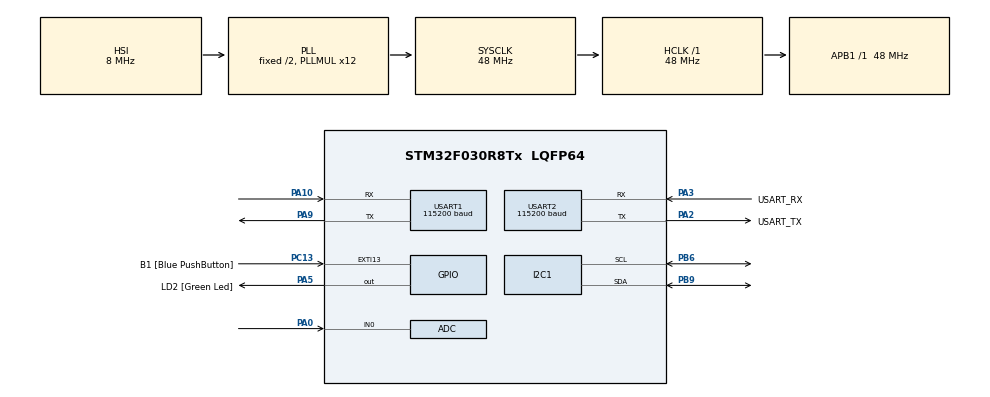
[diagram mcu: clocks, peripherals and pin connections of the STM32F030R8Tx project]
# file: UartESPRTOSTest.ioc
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FREERTOS.Tasks01=defaultTask,-1,256,StartDefaultTask,Default,NULL,Dynamic,NULL,NULL;Read_T_H_A_L_Se,0,128,ReadSensors,Default,NULL,Dynamic,NULL,NULL;ConnectToESP,1,256,ConnectToServer,Default,NULL,Dynamic,NULL,NULL
Mcu.Family=STM32F0
Mcu.Name=STM32F030R8Tx
Mcu.Package=LQFP64
NVIC.RTC_IRQn=true\:0\:0\:false\:false\:true\:false\:true\:true
NVIC.TIM1_BRK_UP_TRG_COM_IRQn=true\:0\:0\:false\:false\:true\:false\:false\:true
NVIC.TimeBase=TIM1_BRK_UP_TRG_COM_IRQn
NVIC.TimeBaseIP=TIM1
NVIC.USART1_IRQn=true\:0\:0\:false\:false\:true\:false\:true\:true
PA0.Mode=IN0
PA0.Signal=ADC_IN0
PA10.Mode=Asynchronous
PA10.Signal=USART1_RX
PA13.GPIO_Label=TMS
PA13.Mode=Serial_Wire
PA13.Signal=SYS_SWDIO
PA14.GPIO_Label=TCK
PA14.Mode=Serial_Wire
PA14.Signal=SYS_SWCLK
PA2.GPIO_Label=USART_TX
PA2.GPIO_Mode=GPIO_MODE_AF_PP
PA2.GPIO_PuPd=GPIO_NOPULL
PA2.GPIO_Speed=GPIO_SPEED_FREQ_LOW
PA2.Mode=Asynchronous
PA2.Signal=USART2_TX
PA3.GPIO_Label=USART_RX
PA3.GPIO_Mode=GPIO_MODE_AF_PP
PA3.GPIO_PuPd=GPIO_NOPULL
PA3.GPIO_Speed=GPIO_SPEED_FREQ_LOW
PA3.Mode=Asynchronous
PA3.Signal=USART2_RX
PA5.GPIO_Label=LD2 [Green Led]
PA5.GPIO_Mode=GPIO_MODE_OUTPUT_PP
PA5.GPIO_PuPd=GPIO_NOPULL
PA5.GPIO_Speed=GPIO_SPEED_FREQ_LOW
PA5.Signal=GPIO_Output
PA9.Mode=Asynchronous
PA9.Signal=USART1_TX
PB6.Mode=I2C
PB6.Signal=I2C1_SCL
PB9.Mode=I2C
PB9.Signal=I2C1_SDA
PC13.GPIO_Label=B1 [Blue PushButton]
PC13.GPIO_ModeDefaultEXTI=GPIO_MODE_IT_FALLING
PC13.Signal=GPXTI13
PC14-OSC32_IN.Mode=LSE-External-Oscillator
PC14-OSC32_IN.Signal=RCC_OSC32_IN
PC15-OSC32_OUT.Mode=LSE-External-Oscillator
PC15-OSC32_OUT.Signal=RCC_OSC32_OUT
PF0-OSC_IN.Mode=HSE-External-Clock-Source
PF0-OSC_IN.Signal=RCC_OSC_IN
PF1-OSC_OUT.Signal=RCC_OSC_OUT
ProjectManager.HeapSize=0x200
ProjectManager.StackSize=0x400
ProjectManager.TargetToolchain=STM32CubeIDE
RCC.AHBFreq_Value=48000000
RCC.APB1Freq_Value=48000000
RCC.APB1TimFreq_Value=48000000
RCC.HCLKFreq_Value=48000000
RCC.PLLMUL=RCC_PLL_MUL12
RCC.SYSCLKFreq_VALUE=48000000
RCC.SYSCLKSource=RCC_SYSCLKSOURCE_PLLCLK
RTC.Alarm-Alarm\ A=RTC_ALARM_A
RTC.Minutes=0
RTC.Minutes_A-Alarm\ A=1
USART1.BaudRate=115200
USART1.VirtualMode-Asynchronous=VM_ASYNC
USART2.BaudRate=115200
USART2.VirtualMode-Asynchronous=VM_ASYNC
VP_FREERTOS_VS_CMSIS_V1.Mode=CMSIS_V1
VP_RTC_VS_RTC_Activate.Mode=RTC_Enabled
VP_RTC_VS_RTC_Alarm_A_Intern.Mode=Alarm A
VP_RTC_VS_RTC_Calendar.Mode=RTC_Calendar
VP_SYS_VS_tim1.Mode=TIM1
board=NUCLEO-F030R8

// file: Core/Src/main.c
/* USER CODE BEGIN Header */
/**
 ******************************************************************************
 * @file           : main.c
 * @brief          : Main program body
 ******************************************************************************
 * @attention
 *
 * <h2><center>&copy; Copyright (c) 2020 STMicroelectronics.
 * All rights reserved.</center></h2>
 *
 * This software component is licensed by ST under BSD 3-Clause license,
 * the "License"; You may not use this file except in compliance with the
 * License. You may obtain a copy of the License at:
 *                        opensource.org/licenses/BSD-3-Clause
 *
 ******************************************************************************
 */
/* USER CODE END Header */
#include "main.h"
#include "cmsis_os.h"

/* USER CODE BEGIN Includes */
#include "ESP-Wireless-v1.h"
#include "I2c.h"
#include "T_H_A_L_Sensor.h"
#include "standBy.h"
/* USER CODE END Includes */

ADC_HandleTypeDef hadc;

I2C_HandleTypeDef hi2c1;

RTC_HandleTypeDef hrtc;

UART_HandleTypeDef huart1;
UART_HandleTypeDef huart2;

osThreadId defaultTaskHandle;
osThreadId Read_T_H_A_L_SeHandle;
osThreadId ConnectToESPHandle;

void SystemClock_Config(void);
static void MX_GPIO_Init(void);
static void MX_USART2_UART_Init(void);
static void MX_ADC_Init(void);
static void MX_I2C1_Init(void);
static void MX_USART1_UART_Init(void);
static void MX_RTC_Init(void);
void StartDefaultTask(void const *argument);
void ReadSensors(void const *argument);
void ConnectToServer(void const *argument);

/* USER CODE BEGIN PFP */
//typedef struct { double T,H,A,L; int minutes_expired;} SensorData;
int missed_cycles = 0;
SensorData sensorData[11];
uint8_t Connection_Server_status = 0;
uint8_t Sensor_Read_status = 0;
/* USER CODE END PFP */

int main(void) {

	/* MCU Configuration--------------------------------------------------------*/

	/* Reset of all peripherals, Initializes the Flash interface and the Systick. */
	HAL_Init();

	/* Configure the system clock */
	SystemClock_Config();

	/* Initialize all configured peripherals */
	MX_GPIO_Init();
	MX_USART2_UART_Init();
	MX_ADC_Init();
	MX_I2C1_Init();
	MX_USART1_UART_Init();
	MX_RTC_Init();

	/* Create the thread(s) */
	/* definition and creation of defaultTask */
	osThreadDef(defaultTask, StartDefaultTask, osPriorityBelowNormal, 0, 256);
	defaultTaskHandle = osThreadCreate(osThread(defaultTask), NULL);

	/* definition and creation of Read_T_H_A_L_Se */
	osThreadDef(Read_T_H_A_L_Se, ReadSensors, osPriorityNormal, 0, 128);
	Read_T_H_A_L_SeHandle = osThreadCreate(osThread(Read_T_H_A_L_Se), NULL);

	/* definition and creation of ConnectToESP */
	osThreadDef(ConnectToESP, ConnectToServer, osPriorityAboveNormal, 0, 256);
	ConnectToESPHandle = osThreadCreate(osThread(ConnectToESP), NULL);

	/* Start scheduler */
	osKernelStart();

	/* We should never get here as control is now taken by the scheduler */
	/* Infinite loop */
	while (1) {

	}
}

void SystemClock_Config(void) {
	RCC_OscInitTypeDef RCC_OscInitStruct = { 0 };
	RCC_ClkInitTypeDef RCC_ClkInitStruct = { 0 };
	RCC_PeriphCLKInitTypeDef PeriphClkInit = { 0 };

	/** Initializes the RCC Oscillators according to the specified parameters
	 * in the RCC_OscInitTypeDef structure.
	 */
	RCC_OscInitStruct.OscillatorType = RCC_OSCILLATORTYPE_HSI
			| RCC_OSCILLATORTYPE_HSI14 | RCC_OSCILLATORTYPE_LSI;
	RCC_OscInitStruct.HSIState = RCC_HSI_ON;
	RCC_OscInitStruct.HSI14State = RCC_HSI14_ON;
	RCC_OscInitStruct.HSICalibrationValue = RCC_HSICALIBRATION_DEFAULT;
	RCC_OscInitStruct.HSI14CalibrationValue = 16;
	RCC_OscInitStruct.LSIState = RCC_LSI_ON;
	RCC_OscInitStruct.PLL.PLLState = RCC_PLL_ON;
	RCC_OscInitStruct.PLL.PLLSource = RCC_PLLSOURCE_HSI;
	RCC_OscInitStruct.PLL.PLLMUL = RCC_PLL_MUL12;
	RCC_OscInitStruct.PLL.PREDIV = RCC_PREDIV_DIV1;
	if (HAL_RCC_OscConfig(&RCC_OscInitStruct) != HAL_OK) {
		Error_Handler();
	}
	/** Initializes the CPU, AHB and APB buses clocks
	 */
	RCC_ClkInitStruct.ClockType = RCC_CLOCKTYPE_HCLK | RCC_CLOCKTYPE_SYSCLK
			| RCC_CLOCKTYPE_PCLK1;
	RCC_ClkInitStruct.SYSCLKSource = RCC_SYSCLKSOURCE_PLLCLK;
	RCC_ClkInitStruct.AHBCLKDivider = RCC_SYSCLK_DIV1;
	RCC_ClkInitStruct.APB1CLKDivider = RCC_HCLK_DIV1;

	if (HAL_RCC_ClockConfig(&RCC_ClkInitStruct, FLASH_LATENCY_1) != HAL_OK) {
		Error_Handler();
	}
	PeriphClkInit.PeriphClockSelection = RCC_PERIPHCLK_USART1
			| RCC_PERIPHCLK_I2C1 | RCC_PERIPHCLK_RTC;
	PeriphClkInit.Usart1ClockSelection = RCC_USART1CLKSOURCE_PCLK1;
	PeriphClkInit.I2c1ClockSelection = RCC_I2C1CLKSOURCE_HSI;
	PeriphClkInit.RTCClockSelection = RCC_RTCCLKSOURCE_LSI;
	if (HAL_RCCEx_PeriphCLKConfig(&PeriphClkInit) != HAL_OK) {
		Error_Handler();
	}
}

static void MX_ADC_Init(void) {

	ADC_ChannelConfTypeDef sConfig = { 0 };

	/** Configure the global features of the ADC (Clock, Resolution, Data Alignment and number of conversion)
	 */
	hadc.Instance = ADC1;
	hadc.Init.ClockPrescaler = ADC_CLOCK_ASYNC_DIV1;
	hadc.Init.Resolution = ADC_RESOLUTION_12B;
	hadc.Init.DataAlign = ADC_DATAALIGN_RIGHT;
	hadc.Init.ScanConvMode = ADC_SCAN_DIRECTION_FORWARD;
	hadc.Init.EOCSelection = ADC_EOC_SINGLE_CONV;
	hadc.Init.LowPowerAutoWait = DISABLE;
	hadc.Init.LowPowerAutoPowerOff = DISABLE;
	hadc.Init.ContinuousConvMode = DISABLE;
	hadc.Init.DiscontinuousConvMode = DISABLE;
	hadc.Init.ExternalTrigConv = ADC_SOFTWARE_START;
	hadc.Init.ExternalTrigConvEdge = ADC_EXTERNALTRIGCONVEDGE_NONE;
	hadc.Init.DMAContinuousRequests = DISABLE;
	hadc.Init.Overrun = ADC_OVR_DATA_PRESERVED;
	if (HAL_ADC_Init(&hadc) != HAL_OK) {
		Error_Handler();
	}
	/** Configure for the selected ADC regular channel to be converted.
	 */
	sConfig.Channel = ADC_CHANNEL_0;
	sConfig.Rank = ADC_RANK_CHANNEL_NUMBER;
	sConfig.SamplingTime = ADC_SAMPLETIME_1CYCLE_5;
	if (HAL_ADC_ConfigChannel(&hadc, &sConfig) != HAL_OK) {
		Error_Handler();
	}

}

static void MX_I2C1_Init(void) {

	hi2c1.Instance = I2C1;
	hi2c1.Init.Timing = 0x2000090E;
	hi2c1.Init.OwnAddress1 = 0;
	hi2c1.Init.AddressingMode = I2C_ADDRESSINGMODE_7BIT;
	hi2c1.Init.DualAddressMode = I2C_DUALADDRESS_DISABLE;
	hi2c1.Init.OwnAddress2 = 0;
	hi2c1.Init.OwnAddress2Masks = I2C_OA2_NOMASK;
	hi2c1.Init.GeneralCallMode = I2C_GENERALCALL_DISABLE;
	hi2c1.Init.NoStretchMode = I2C_NOSTRETCH_DISABLE;
	if (HAL_I2C_Init(&hi2c1) != HAL_OK) {
		Error_Handler();
	}
	/** Configure Analogue filter
	 */
	if (HAL_I2CEx_ConfigAnalogFilter(&hi2c1, I2C_ANALOGFILTER_ENABLE)
			!= HAL_OK) {
		Error_Handler();
	}
	/** Configure Digital filter
	 */
	if (HAL_I2CEx_ConfigDigitalFilter(&hi2c1, 0) != HAL_OK) {
		Error_Handler();
	}

}

static void MX_RTC_Init(void) {

	RTC_TimeTypeDef sTime = { 0 };
	RTC_DateTypeDef sDate = { 0 };
	RTC_AlarmTypeDef sAlarm = { 0 };

	/** Initialize RTC Only
	 */
	hrtc.Instance = RTC;
	hrtc.Init.HourFormat = RTC_HOURFORMAT_24;
	hrtc.Init.AsynchPrediv = 127;
	hrtc.Init.SynchPrediv = 255;
	hrtc.Init.OutPut = RTC_OUTPUT_DISABLE;
	hrtc.Init.OutPutPolarity = RTC_OUTPUT_POLARITY_HIGH;
	hrtc.Init.OutPutType = RTC_OUTPUT_TYPE_OPENDRAIN;
	if (HAL_RTC_Init(&hrtc) != HAL_OK) {
		Error_Handler();
	}

	/** Initialize RTC and set the Time and Date
	 */
	sTime.Hours = 0x0;
	sTime.Minutes = 0x0;
	sTime.Seconds = 0x0;
	sTime.DayLightSaving = RTC_DAYLIGHTSAVING_NONE;
	sTime.StoreOperation = RTC_STOREOPERATION_RESET;
	if (HAL_RTC_SetTime(&hrtc, &sTime, RTC_FORMAT_BCD) != HAL_OK) {
		Error_Handler();
	}
	sDate.WeekDay = RTC_WEEKDAY_MONDAY;
	sDate.Month = RTC_MONTH_JANUARY;
	sDate.Date = 0x1;
	sDate.Year = 0x0;

	if (HAL_RTC_SetDate(&hrtc, &sDate, RTC_FORMAT_BCD) != HAL_OK) {
		Error_Handler();
	}
	/** Enable the Alarm A
	 */
	sAlarm.AlarmTime.Hours = 0x0;
	sAlarm.AlarmTime.Minutes = 0x1;
	sAlarm.AlarmTime.Seconds = 0x0;
	sAlarm.AlarmTime.SubSeconds = 0x0;
	sAlarm.AlarmTime.DayLightSaving = RTC_DAYLIGHTSAVING_NONE;
	sAlarm.AlarmTime.StoreOperation = RTC_STOREOPERATION_RESET;
	sAlarm.AlarmMask = RTC_ALARMMASK_NONE;
	sAlarm.AlarmSubSecondMask = RTC_ALARMSUBSECONDMASK_ALL;
	sAlarm.AlarmDateWeekDaySel = RTC_ALARMDATEWEEKDAYSEL_DATE;
	sAlarm.AlarmDateWeekDay = 0x1;
	sAlarm.Alarm = RTC_ALARM_A;
	if (HAL_RTC_SetAlarm_IT(&hrtc, &sAlarm, RTC_FORMAT_BCD) != HAL_OK) {
		Error_Handler();
	}

}

static void MX_USART1_UART_Init(void) {

	huart1.Instance = USART1;
	huart1.Init.BaudRate = 115200;
	huart1.Init.WordLength = UART_WORDLENGTH_8B;
	huart1.Init.StopBits = UART_STOPBITS_1;
	huart1.Init.Parity = UART_PARITY_NONE;
	huart1.Init.Mode = UART_MODE_TX_RX;
	huart1.Init.HwFlowCtl = UART_HWCONTROL_NONE;
	huart1.Init.OverSampling = UART_OVERSAMPLING_16;
	huart1.Init.OneBitSampling = UART_ONE_BIT_SAMPLE_DISABLE;
	huart1.AdvancedInit.AdvFeatureInit = UART_ADVFEATURE_NO_INIT;
	if (HAL_UART_Init(&huart1) != HAL_OK) {
		Error_Handler();
	}

}

static void MX_USART2_UART_Init(void) {

	huart2.Instance = USART2;
	huart2.Init.BaudRate = 115200;
	huart2.Init.WordLength = UART_WORDLENGTH_8B;
	huart2.Init.StopBits = UART_STOPBITS_1;
	huart2.Init.Parity = UART_PARITY_NONE;
	huart2.Init.Mode = UART_MODE_TX_RX;
	huart2.Init.HwFlowCtl = UART_HWCONTROL_NONE;
	huart2.Init.OverSampling = UART_OVERSAMPLING_16;
	huart2.Init.OneBitSampling = UART_ONE_BIT_SAMPLE_DISABLE;
	huart2.AdvancedInit.AdvFeatureInit = UART_ADVFEATURE_NO_INIT;
	if (HAL_UART_Init(&huart2) != HAL_OK) {
		Error_Handler();
	}

}

static void MX_GPIO_Init(void) {
	GPIO_InitTypeDef GPIO_InitStruct = { 0 };

	/* GPIO Ports Clock Enable */
	__HAL_RCC_GPIOC_CLK_ENABLE();
	__HAL_RCC_GPIOF_CLK_ENABLE();
	__HAL_RCC_GPIOA_CLK_ENABLE();
	__HAL_RCC_GPIOB_CLK_ENABLE();

	/*Configure GPIO pin Output Level */
	HAL_GPIO_WritePin(LD2_GPIO_Port, LD2_Pin, GPIO_PIN_RESET);

	/*Configure GPIO pin : B1_Pin */
	GPIO_InitStruct.Pin = B1_Pin;
	GPIO_InitStruct.Mode = GPIO_MODE_IT_FALLING;
	GPIO_InitStruct.Pull = GPIO_NOPULL;
	HAL_GPIO_Init(B1_GPIO_Port, &GPIO_InitStruct);

	/*Configure GPIO pin : LD2_Pin */
	GPIO_InitStruct.Pin = LD2_Pin;
	GPIO_InitStruct.Mode = GPIO_MODE_OUTPUT_PP;
	GPIO_InitStruct.Pull = GPIO_NOPULL;
	GPIO_InitStruct.Speed = GPIO_SPEED_FREQ_LOW;
	HAL_GPIO_Init(LD2_GPIO_Port, &GPIO_InitStruct);

}

void StartDefaultTask(void const *argument) {
	/* USER CODE BEGIN 5 */
	/* Infinite loop */
	resetStandBy();

	if (Sensor_Read_status == 2 && Connection_Server_status == 2) {

		int i = 0;
		while (i < missed_cycles) {
			for (int j = 0; j < 10; j++) {
				readFlash_Measure_DATA(&j, &sensorData);
				sensorData[j].minutes_expired = missed_cycles - i;
				tcpSend(sensorData[j].T, sensorData[j].H, sensorData[j].A,
						sensorData[j].L, sensorData[j].minutes_expired);
				i++;

				if(i== missed_cycles ){
					j=10;
				}

			}

		}
		//send current data
		tcpSend(sensorData[10].T, sensorData[10].H, sensorData[10].A,
				sensorData[10].L, 0);
		missed_cycles = 0;
		Sensor_Read_status = 0;
		Connection_Server_status = 0;
		writeFlash(&missed_cycles, &sensorData);
		startStandBy();

	} else if (Sensor_Read_status == 2 && Connection_Server_status == 1) {
		missed_cycles++;
		writeFlash(&missed_cycles, &sensorData);
		startStandBy();
	} else {
		//sleep mode
		missed_cycles++;
		writeFlash(&missed_cycles, &sensorData);
		startStandBy();
	}
	//startStandBy();
	vTaskDelete( NULL);

	/* USER CODE END 5 */
}

void ReadSensors(void const *argument) {
	/* USER CODE BEGIN ReadSensors */
	/* Infinite loop */
	readFlash_cycles(&missed_cycles, &sensorData);
	if (Sensor_Read_status == 0) {
		sensorData[10].T = Tem_Sensor();
		sensorData[10].H = Hum_Sensor();
		sensorData[10].A = Read_Pressure_Sensor();
		sensorData[10].L = LUX_Sensor();
		Sensor_Read_status = 2;
	}
	vTaskDelete( NULL);

	/* USER CODE END ReadSensors */
}

void ConnectToServer(void const *argument) {
	/* USER CODE BEGIN ConnectToServer */
	/* Infinite loop */

	static _Bool Connection = 0;
	if (Connection_Server_status == 0) {
		Connection = espConnect("Quinnvanderschaar", "test1234");
		HAL_Delay(5000);
		Connection = tcpConnect("192.168.178.80", "80");
		HAL_Delay(1000);
		if (Connection == 1) {
			Connection_Server_status = 2;
		} else {
			Connection_Server_status = 1;
		}
	}
	vTaskDelete( NULL);

	/* USER CODE END ConnectToServer */
}

void HAL_TIM_PeriodElapsedCallback(TIM_HandleTypeDef *htim) {
	if (htim->Instance == TIM1) {
		HAL_IncTick();
	}
}

void Error_Handler(void) {
}

/************************ (C) COPYRIGHT STMicroelectronics *****END OF FILE****/
